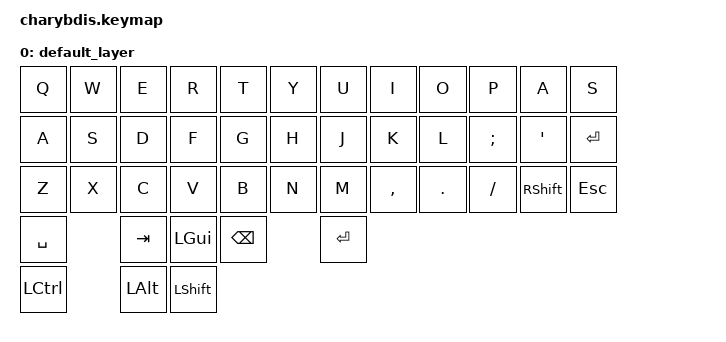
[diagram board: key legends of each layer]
#include <behaviors.dtsi>
#include <dt-bindings/zmk/keys.h>

/ {
    keymap {
        compatible = "zmk,keymap";

        default_layer {
            bindings = <
            &kp Q &kp W &kp E &kp R &kp T &kp Y &kp U &kp I &kp O &kp P &kp A &kp S
            &kp A &kp S &kp D &kp F &kp G &kp H &kp J &kp K &kp L &kp SEMI &kp SQT &kp ENTER
            &kp Z &kp X &kp C &kp V &kp B &kp N &kp M &kp COMMA &kp DOT &kp SLASH &kp RSHFT &kp ESC
            &kp SPACE &kp TAB &kp LGUI &kp BSPC &kp RET
            &kp LCTRL &kp LALT &kp LSHFT
            >;
        };
    };
};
